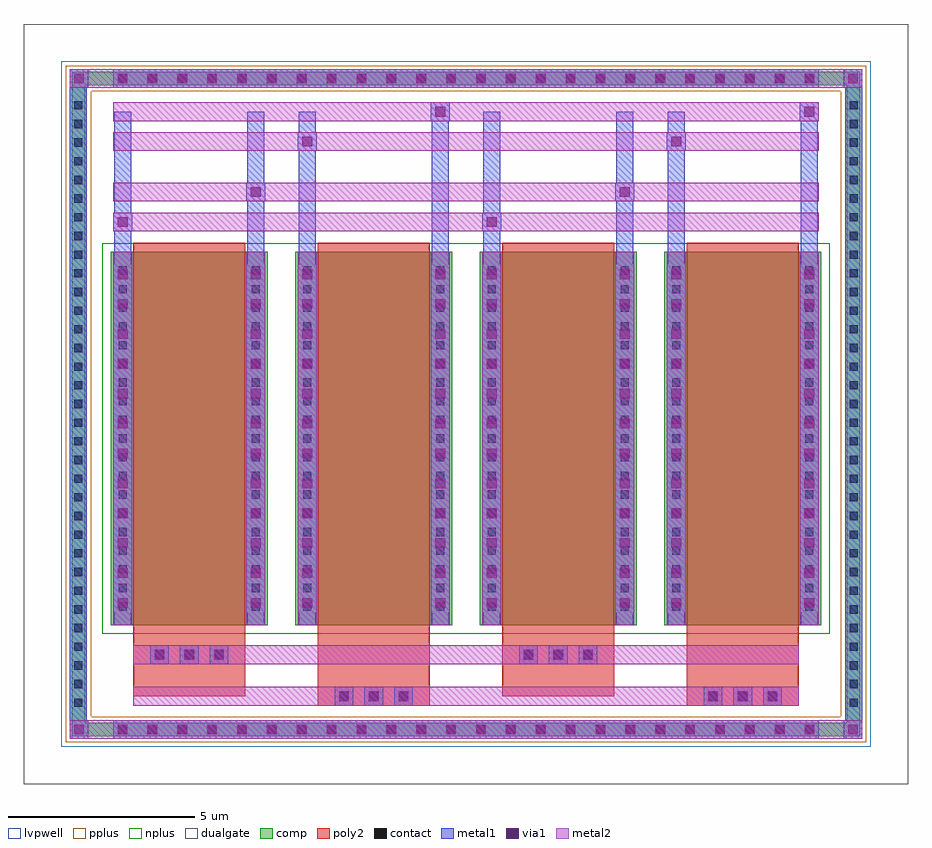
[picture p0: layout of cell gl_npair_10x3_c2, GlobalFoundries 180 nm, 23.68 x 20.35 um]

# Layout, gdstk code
import gdstk
lib = gdstk.Library(unit=1e-6, precision=1e-09)
def R(c, l, rs):  # rectangles x0, y0, x1, y1
    for r in rs: c.add(gdstk.rectangle(r[:2], r[2:], *l))
def A(c, l, x, y, w, h, nx, ny, dx, dy):  # array of equal rectangles
    R(c, l, [(x+i*dx, y+j*dy, x+i*dx+w, y+j*dy+h) for i in range(nx) for j in range(ny)])
def P(c, l, *ps):  # polygons
    for p in ps: c.add(gdstk.Polygon(p, *l))
comp = (22, 0)
poly2 = (30, 0)
pplus = (31, 0)
nplus = (32, 0)
contact = (33, 0)
metal1 = (34, 0)
via1 = (35, 0)
metal2 = (36, 0)
dualgate = (55, 0)
lvpwell = (204, 0)

gl_npair_10x3_c2 = lib.new_cell('gl_npair_10x3_c2')
A(gl_npair_10x3_c2, comp, -9.38, -8.895, 0.36, 0.36, 24, 2, 0.8, 17.43)
A(gl_npair_10x3_c2, comp, -10.56, -8.18, 0.36, 0.36, 1, 33, 0, 0.5)
A(gl_npair_10x3_c2, comp, 10.2, -8.18, 0.36, 0.36, 1, 33, 0, 0.5)
A(gl_npair_10x3_c2, comp, -9.51, -5.925, 4.2, 10, 4, 1, 4.94, 0)
R(gl_npair_10x3_c2, comp, [(-9.38,-8.895,9.38,-8.535), (-10.56,-8.18,-10.2,8.18), (10.2,-8.18,10.56,8.18), (-9.38,8.535,9.38,8.895)])
P(gl_npair_10x3_c2, comp, [(-10.56,-8.895),(-10.56,-8.535),(-10.2,-8.535),(10.2,-8.535),(10.2,8.535),(-10.2,8.535),(-10.2,-8.535),(-10.56,-8.535),(-10.56,8.895),(10.56,8.895),(10.56,-8.895)])
A(gl_npair_10x3_c2, poly2, -3.45, -8.005, 0.36, 0.36, 3, 1, 0.8, 0)
A(gl_npair_10x3_c2, poly2, 6.43, -8.005, 0.36, 0.36, 3, 1, 0.8, 0)
A(gl_npair_10x3_c2, poly2, -8.39, -6.895, 0.36, 0.36, 3, 1, 0.8, 0)
A(gl_npair_10x3_c2, poly2, 1.49, -6.895, 0.36, 0.36, 3, 1, 0.8, 0)
A(gl_npair_10x3_c2, poly2, -8.91, -6.165, 3, 10.48, 4, 1, 4.94, 0)
R(gl_npair_10x3_c2, poly2, [(-3.97,-8.075,-0.97,-7.575), (5.91,-8.075,8.91,-7.575), (-8.91,-7.825,-5.91,-6.165), (0.97,-7.825,3.97,-6.165), (-3.97,-7.575,-0.97,-6.165), (5.91,-7.575,8.91,-6.165), (-8.91,-6.965,-5.91,-6.465), (0.97,-6.965,3.97,-6.465), (-8.91,-6.465,-5.91,-6.165), (0.97,-6.465,3.97,-6.165)])
P(gl_npair_10x3_c2, pplus, [(-10.72,-9.055),(-10.72,-8.375),(-10.04,-8.375),(10.04,-8.375),(10.04,8.375),(-10.04,8.375),(-10.04,-8.375),(-10.72,-8.375),(-10.72,9.055),(10.72,9.055),(10.72,-9.055)])
A(gl_npair_10x3_c2, nplus, -9.74, -6.155, 4.66, 10.46, 4, 1, 4.94, 0)
R(gl_npair_10x3_c2, nplus, [(-9.74,-6.155,9.74,4.305)])
A(gl_npair_10x3_c2, contact, -9.31, -8.825, 0.22, 0.22, 24, 2, 0.8, 17.43)
A(gl_npair_10x3_c2, contact, -10.49, -8.11, 0.22, 0.22, 1, 33, 0, 0.5)
A(gl_npair_10x3_c2, contact, 10.27, -8.11, 0.22, 0.22, 1, 33, 0, 0.5)
A(gl_npair_10x3_c2, contact, -3.38, -7.935, 0.22, 0.22, 3, 1, 0.8, 0)
A(gl_npair_10x3_c2, contact, 6.5, -7.935, 0.22, 0.22, 3, 1, 0.8, 0)
A(gl_npair_10x3_c2, contact, -8.32, -6.825, 0.22, 0.22, 3, 1, 0.8, 0)
A(gl_npair_10x3_c2, contact, 1.56, -6.825, 0.22, 0.22, 3, 1, 0.8, 0)
A(gl_npair_10x3_c2, contact, -9.3, -5.535, 0.22, 0.22, 1, 19, 0, 0.5)
A(gl_npair_10x3_c2, contact, -5.74, -5.535, 0.22, 0.22, 1, 19, 0, 0.5)
A(gl_npair_10x3_c2, contact, -4.36, -5.535, 0.22, 0.22, 1, 19, 0, 0.5)
A(gl_npair_10x3_c2, contact, -0.8, -5.535, 0.22, 0.22, 1, 19, 0, 0.5)
A(gl_npair_10x3_c2, contact, 0.58, -5.535, 0.22, 0.22, 1, 19, 0, 0.5)
A(gl_npair_10x3_c2, contact, 4.14, -5.535, 0.22, 0.22, 1, 19, 0, 0.5)
A(gl_npair_10x3_c2, contact, 5.52, -5.535, 0.22, 0.22, 1, 19, 0, 0.5)
A(gl_npair_10x3_c2, contact, 9.08, -5.535, 0.22, 0.22, 1, 19, 0, 0.5)
A(gl_npair_10x3_c2, metal1, -9.45, -8.965, 0.5, 0.5, 24, 2, 0.8, 17.43)
A(gl_npair_10x3_c2, metal1, -10.61, -8.23, 0.46, 0.46, 1, 33, 0, 0.5)
A(gl_npair_10x3_c2, metal1, 10.15, -8.23, 0.46, 0.46, 1, 33, 0, 0.5)
A(gl_npair_10x3_c2, metal1, -3.52, -8.075, 0.5, 0.5, 3, 1, 0.8, 0)
A(gl_npair_10x3_c2, metal1, 6.36, -8.075, 0.5, 0.5, 3, 1, 0.8, 0)
A(gl_npair_10x3_c2, metal1, -8.46, -6.965, 0.5, 0.5, 3, 1, 0.8, 0)
A(gl_npair_10x3_c2, metal1, 1.42, -6.965, 0.5, 0.5, 3, 1, 0.8, 0)
A(gl_npair_10x3_c2, metal1, -9.42, -5.655, 0.46, 0.46, 1, 19, 0, 0.5)
A(gl_npair_10x3_c2, metal1, -5.86, -5.655, 0.46, 0.46, 1, 19, 0, 0.5)
A(gl_npair_10x3_c2, metal1, -4.48, -5.655, 0.46, 0.46, 1, 19, 0, 0.5)
A(gl_npair_10x3_c2, metal1, -0.92, -5.655, 0.46, 0.46, 1, 19, 0, 0.5)
A(gl_npair_10x3_c2, metal1, 0.46, -5.655, 0.46, 0.46, 1, 19, 0, 0.5)
A(gl_npair_10x3_c2, metal1, 4.02, -5.655, 0.46, 0.46, 1, 19, 0, 0.5)
A(gl_npair_10x3_c2, metal1, 5.4, -5.655, 0.46, 0.46, 1, 19, 0, 0.5)
A(gl_npair_10x3_c2, metal1, 8.96, -5.655, 0.46, 0.46, 1, 19, 0, 0.5)
A(gl_npair_10x3_c2, metal1, -9.44, -5.575, 0.5, 0.5, 1, 12, 0, 0.8)
A(gl_npair_10x3_c2, metal1, -5.88, -5.575, 0.5, 0.5, 1, 12, 0, 0.8)
A(gl_npair_10x3_c2, metal1, -4.5, -5.575, 0.5, 0.5, 1, 12, 0, 0.8)
A(gl_npair_10x3_c2, metal1, -0.94, -5.575, 0.5, 0.5, 1, 12, 0, 0.8)
A(gl_npair_10x3_c2, metal1, 0.44, -5.575, 0.5, 0.5, 1, 12, 0, 0.8)
A(gl_npair_10x3_c2, metal1, 4, -5.575, 0.5, 0.5, 1, 12, 0, 0.8)
A(gl_npair_10x3_c2, metal1, 5.38, -5.575, 0.5, 0.5, 1, 12, 0, 0.8)
A(gl_npair_10x3_c2, metal1, 8.94, -5.575, 0.5, 0.5, 1, 12, 0, 0.8)
R(gl_npair_10x3_c2, metal1, [(-10.61,-8.965,-10.11,-8.465), (-10.61,-8.965,-10.11,-8.465), (-10.61,-8.965,-10.15,-8.535), (-9.45,-8.965,9.45,-8.465), (10.11,-8.965,10.61,-8.465), (10.11,-8.965,10.61,-8.465), (10.15,-8.965,10.61,-8.535), (-10.61,-8.535,-10.15,8.535), (10.15,-8.535,10.61,8.535), (-9.42,-5.925,-8.96,4.075), (-5.86,-5.925,-5.4,4.075), (-4.48,-5.925,-4.02,4.075), (-0.92,-5.925,-0.46,4.075), (0.46,-5.925,0.92,4.075), (4.02,-5.925,4.48,4.075), (5.4,-5.925,5.86,4.075), (8.96,-5.925,9.42,4.075), (-9.44,-5.575,-8.94,3.725), (-5.88,-5.575,-5.38,3.725), (-4.5,-5.575,-4,3.725), (-0.94,-5.575,-0.44,3.725), (0.44,-5.575,0.94,3.725), (4,-5.575,4.5,3.725), (5.38,-5.575,5.88,3.725), (8.94,-5.575,9.44,3.725), (-9.42,4.075,-8.96,5.125), (-9.42,4.075,-8.96,7.825), (-5.86,4.075,-5.4,5.925), (-5.86,4.075,-5.4,7.825), (-4.48,4.075,-4.02,7.275), (-4.48,4.075,-4.02,7.825), (-0.92,4.075,-0.46,8.075), (-0.92,4.075,-0.46,7.825), (0.46,4.075,0.92,5.125), (0.46,4.075,0.92,7.825), (4.02,4.075,4.48,5.925), (4.02,4.075,4.48,7.825), (5.4,4.075,5.86,7.275), (5.4,4.075,5.86,7.825), (8.96,4.075,9.42,8.075), (8.96,4.075,9.42,7.825), (-9.44,4.625,-8.94,5.125), (0.44,4.625,0.94,5.125), (-5.88,5.425,-5.38,5.925), (4,5.425,4.5,5.925), (-4.5,6.775,-4,7.275), (5.38,6.775,5.88,7.275), (-0.94,7.575,-0.44,8.075), (8.94,7.575,9.44,8.075), (-10.61,8.465,-10.11,8.965), (-10.61,8.465,-10.11,8.965), (-9.45,8.465,9.45,8.965), (10.11,8.465,10.61,8.965), (10.11,8.465,10.61,8.965), (-10.61,8.535,-10.15,8.965), (10.15,8.535,10.61,8.965)])
A(gl_npair_10x3_c2, via1, -9.33, -8.845, 0.26, 0.26, 24, 2, 0.8, 17.43)
A(gl_npair_10x3_c2, via1, -3.4, -7.955, 0.26, 0.26, 3, 1, 0.8, 0)
A(gl_npair_10x3_c2, via1, 6.48, -7.955, 0.26, 0.26, 3, 1, 0.8, 0)
A(gl_npair_10x3_c2, via1, -8.34, -6.845, 0.26, 0.26, 3, 1, 0.8, 0)
A(gl_npair_10x3_c2, via1, 1.54, -6.845, 0.26, 0.26, 3, 1, 0.8, 0)
A(gl_npair_10x3_c2, via1, -9.32, -5.455, 0.26, 0.26, 1, 12, 0, 0.8)
A(gl_npair_10x3_c2, via1, -5.76, -5.455, 0.26, 0.26, 1, 12, 0, 0.8)
A(gl_npair_10x3_c2, via1, -4.38, -5.455, 0.26, 0.26, 1, 12, 0, 0.8)
A(gl_npair_10x3_c2, via1, -0.82, -5.455, 0.26, 0.26, 1, 12, 0, 0.8)
A(gl_npair_10x3_c2, via1, 0.56, -5.455, 0.26, 0.26, 1, 12, 0, 0.8)
A(gl_npair_10x3_c2, via1, 4.12, -5.455, 0.26, 0.26, 1, 12, 0, 0.8)
A(gl_npair_10x3_c2, via1, 5.5, -5.455, 0.26, 0.26, 1, 12, 0, 0.8)
A(gl_npair_10x3_c2, via1, 9.06, -5.455, 0.26, 0.26, 1, 12, 0, 0.8)
R(gl_npair_10x3_c2, via1, [(-10.49,-8.845,-10.23,-8.585), (10.23,-8.845,10.49,-8.585), (-9.32,4.745,-9.06,5.005), (0.56,4.745,0.82,5.005), (-5.76,5.545,-5.5,5.805), (4.12,5.545,4.38,5.805), (-4.38,6.895,-4.12,7.155), (5.5,6.895,5.76,7.155), (-0.82,7.695,-0.56,7.955), (9.06,7.695,9.32,7.955), (-10.49,8.585,-10.23,8.845), (10.23,8.585,10.49,8.845)])
A(gl_npair_10x3_c2, metal2, -9.45, -8.965, 0.5, 0.5, 24, 2, 0.8, 17.43)
A(gl_npair_10x3_c2, metal2, -3.52, -8.075, 0.5, 0.5, 3, 1, 0.8, 0)
A(gl_npair_10x3_c2, metal2, 6.36, -8.075, 0.5, 0.5, 3, 1, 0.8, 0)
A(gl_npair_10x3_c2, metal2, -8.46, -6.965, 0.5, 0.5, 3, 1, 0.8, 0)
A(gl_npair_10x3_c2, metal2, 1.42, -6.965, 0.5, 0.5, 3, 1, 0.8, 0)
A(gl_npair_10x3_c2, metal2, -9.44, -5.575, 0.5, 0.5, 1, 12, 0, 0.8)
A(gl_npair_10x3_c2, metal2, -5.88, -5.575, 0.5, 0.5, 1, 12, 0, 0.8)
A(gl_npair_10x3_c2, metal2, -4.5, -5.575, 0.5, 0.5, 1, 12, 0, 0.8)
A(gl_npair_10x3_c2, metal2, -0.94, -5.575, 0.5, 0.5, 1, 12, 0, 0.8)
A(gl_npair_10x3_c2, metal2, 0.44, -5.575, 0.5, 0.5, 1, 12, 0, 0.8)
A(gl_npair_10x3_c2, metal2, 4, -5.575, 0.5, 0.5, 1, 12, 0, 0.8)
A(gl_npair_10x3_c2, metal2, 5.38, -5.575, 0.5, 0.5, 1, 12, 0, 0.8)
A(gl_npair_10x3_c2, metal2, 8.94, -5.575, 0.5, 0.5, 1, 12, 0, 0.8)
R(gl_npair_10x3_c2, metal2, [(-10.61,-8.965,-10.11,-8.465), (-10.61,-8.965,-10.11,-8.465), (-10.61,-8.965,-10.2,-8.465), (-10.2,-8.965,10.2,-8.465), (10.11,-8.965,10.61,-8.465), (10.11,-8.965,10.61,-8.465), (10.2,-8.965,10.61,-8.465), (-8.91,-8.075,8.91,-7.575), (-3.97,-8.075,-0.97,-7.575), (5.91,-8.075,8.91,-7.575), (-8.91,-6.965,8.91,-6.465), (-8.91,-6.965,-5.91,-6.465), (0.97,-6.965,3.97,-6.465), (-9.44,-5.925,-8.94,4.075), (-5.88,-5.925,-5.38,4.075), (-4.5,-5.925,-4,4.075), (-0.94,-5.925,-0.44,4.075), (0.44,-5.925,0.94,4.075), (4,-5.925,4.5,4.075), (5.38,-5.925,5.88,4.075), (8.94,-5.925,9.44,4.075), (-9.44,4.625,9.44,5.125), (-9.44,4.625,-8.94,5.125), (-9.44,4.625,-5.38,5.125), (0.44,4.625,0.94,5.125), (0.44,4.625,4.5,5.125), (-9.44,5.425,9.44,5.925), (-9.44,5.425,-5.38,5.925), (-5.88,5.425,-5.38,5.925), (0.44,5.425,4.5,5.925), (4,5.425,4.5,5.925), (-9.44,6.775,9.44,7.275), (-4.5,6.775,-4,7.275), (-4.5,6.775,-0.44,7.275), (5.38,6.775,5.88,7.275), (5.38,6.775,9.44,7.275), (-9.44,7.575,9.44,8.075), (-4.5,7.575,-0.44,8.075), (-0.94,7.575,-0.44,8.075), (5.38,7.575,9.44,8.075), (8.94,7.575,9.44,8.075), (-10.61,8.465,-10.11,8.965), (-10.61,8.465,-10.11,8.965), (-10.61,8.465,-10.2,8.965), (-10.2,8.465,10.2,8.965), (10.11,8.465,10.61,8.965), (10.11,8.465,10.61,8.965), (10.2,8.465,10.61,8.965)])
R(gl_npair_10x3_c2, dualgate, [(-11.84,-10.175,11.84,10.175)])
R(gl_npair_10x3_c2, lvpwell, [(-10.84,-9.175,10.84,9.175)])

lib.write_gds('gl_npair_10x3_c2.gds')
